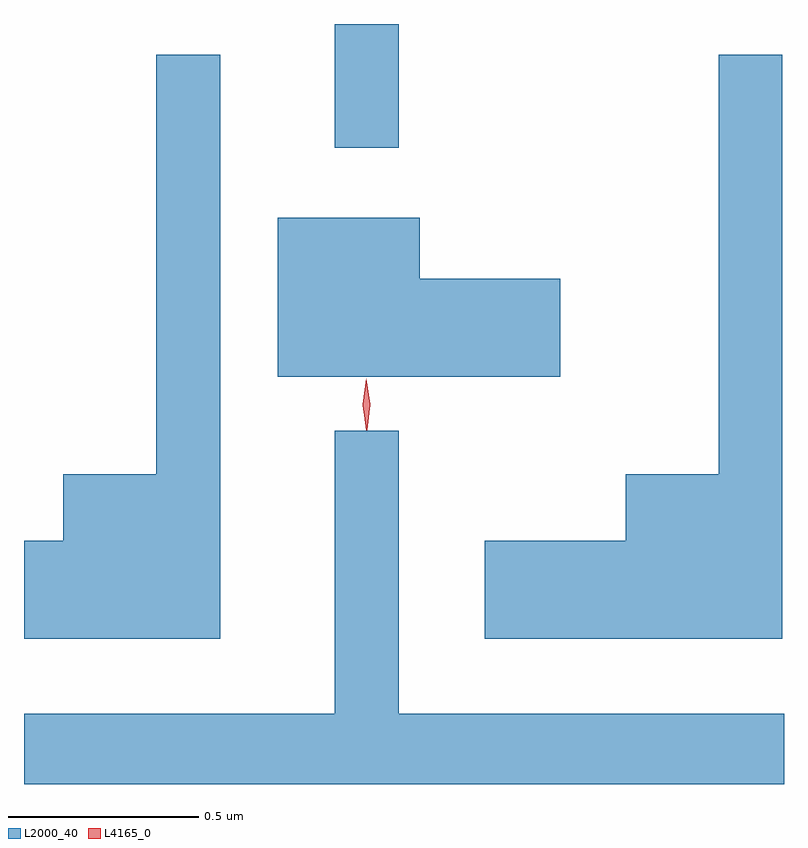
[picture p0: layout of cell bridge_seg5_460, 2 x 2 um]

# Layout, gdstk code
import gdstk
lib = gdstk.Library(unit=1e-6, precision=1e-09)
def R(c, l, rs):  # rectangles x0, y0, x1, y1
    for r in rs: c.add(gdstk.rectangle(r[:2], r[2:], *l))
def P(c, l, *ps):  # polygons
    for p in ps: c.add(gdstk.Polygon(p, *l))
L2000_40 = (2000, 40)
L4165_0 = (4165, 0)

bridge_seg5_460 = lib.new_cell('bridge_seg5_460')
R(bridge_seg5_460, L2000_40, [(253.011,1520.713,253.179,1521.039)])
P(bridge_seg5_460, L2000_40, [(254.189,1520.958),(254.021,1520.958),(254.021,1519.854),(253.776,1519.854),(253.776,1519.679),(253.406,1519.679),(253.406,1519.421),(254.189,1519.421)],
  [(252.709,1520.958),(252.541,1520.958),(252.541,1519.854),(252.296,1519.854),(252.296,1519.679),(252.193,1519.679),(252.193,1519.421),(252.709,1519.421)],
  [(253.604,1520.369),(253.234,1520.369),(253.234,1520.529),(252.861,1520.529),(252.861,1520.111),(253.604,1520.111)],
  [(254.193,1519.224),(253.179,1519.224),(253.179,1519.968),(253.011,1519.968),(253.011,1519.224),(252.193,1519.224),(252.193,1519.039),(254.193,1519.039)])
P(bridge_seg5_460, L4165_0, [(253.094,1519.97),(253.084,1520.038),(253.093,1520.106),(253.094,1520.106),(253.094,1520.106),(253.104,1520.038),(253.096,1519.97),(253.095,1519.97)],
  [(253.094,1519.973),(253.094,1519.974),(253.084,1520.036),(253.093,1520.099),(253.094,1520.1),(253.094,1520.099),(253.104,1520.036),(253.095,1519.974)])

lib.write_gds('bridge_seg5_460.gds')
